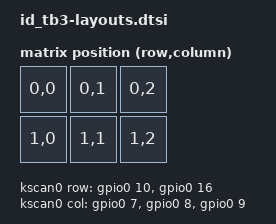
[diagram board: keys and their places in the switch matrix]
//  https://github.com/slabua/zmk-config-saru48wplus/blob/master/boards/shields/saru48wplus/saru48wplus.dtsi
// saru48plus 키보드에서 가져와서 수정함.

#include <dt-bindings/zmk/matrix_transform.h>
#include <dt-bindings/zmk/bt.h>
// #include <dt-bindings/zmk/keys.h>

/ {
    chosen {
        zmk,kscan = &kscan0;
        zmk,matrix_transform = &default_transform;
        zmk,battery = &vbatt;
    };

    vbatt: vbatt {
        compatible = "zmk,battery-nrf-vddh";
    };

    kscan0: kscan_0 {
        compatible = "zmk,kscan-gpio-matrix";
        diode-direction = "col2row";

        col-gpios
            = <&gpio0 7 GPIO_ACTIVE_HIGH>
            , <&gpio0 8 GPIO_ACTIVE_HIGH>
            , <&gpio0 9 GPIO_ACTIVE_HIGH>
            ;

        row-gpios
            = <&gpio0 10 (GPIO_ACTIVE_HIGH | GPIO_PULL_DOWN)>
            , <&gpio0 16 (GPIO_ACTIVE_HIGH | GPIO_PULL_DOWN)>
            ;
    };

    default_transform: keymap_transform_0 {
        compatible = "zmk,matrix-transform";
        columns = <3>;
        rows = <2>;

        map = <
            RC(0,0) RC(0,1) RC(0,2)
            RC(1,0) RC(1,1) RC(1,2)
        >;
    };

//    encoder: encoder {
//        compatible = "alps,ec11";
//        a-gpios = <&gpio1 1 (GPIO_ACTIVE_HIGH | GPIO_PULL_UP)>;
//        b-gpios = <&gpio1 2 (GPIO_ACTIVE_HIGH | GPIO_PULL_UP)>;
//        steps = <80>;
//        status = "enabled";
//    };

//    sensors: sensors {
//        compatible = "zmk,keymap-sensors";
//        sensors = <&encoder>;
//        triggers-per-rotation = <20>;
//    };


};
